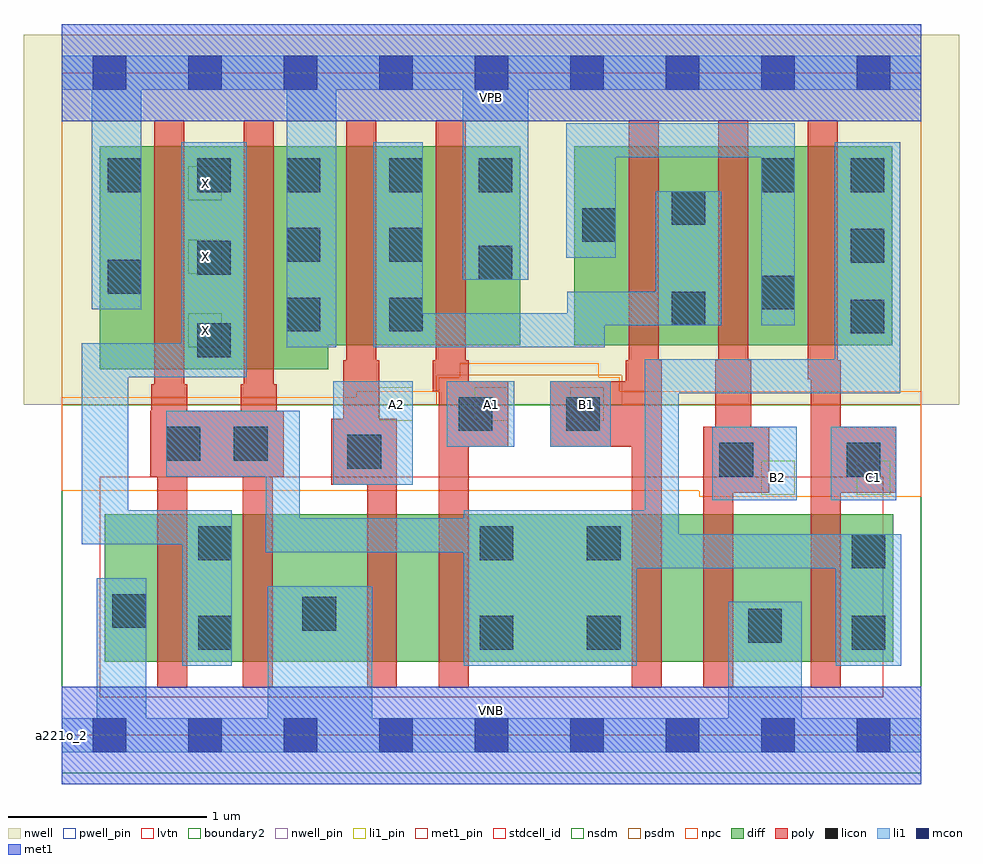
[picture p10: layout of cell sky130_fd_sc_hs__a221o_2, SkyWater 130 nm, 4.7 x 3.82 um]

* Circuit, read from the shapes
.subckt sky130_fd_sc_hs__a221o_2 A1 A2 B1 B2 C1 VGND VNB VPB VPWR X
XM1 X n1 VGND VNB sky130_fd_pr__nfet_01v8_lvt w=0.74 l=0.15 m=2
XM2 n2 A2 VGND VNB sky130_fd_pr__nfet_01v8_lvt w=0.74 l=0.15
XM3 n1 A1 n2 VNB sky130_fd_pr__nfet_01v8_lvt w=0.74 l=0.15
XM4 n3 B1 n1 VNB sky130_fd_pr__nfet_01v8_lvt w=0.74 l=0.15
XM5 VGND B2 n3 VNB sky130_fd_pr__nfet_01v8_lvt w=0.74 l=0.15
XM6 n1 C1 VGND VNB sky130_fd_pr__nfet_01v8_lvt w=0.74 l=0.15
XM7 X n1 VPWR VPB sky130_fd_pr__pfet_01v8 w=1.12 l=0.15 m=2
XM8 n4 A2 VPWR VPB sky130_fd_pr__pfet_01v8 w=1 l=0.15
XM9 VPWR A1 n4 VPB sky130_fd_pr__pfet_01v8 w=1 l=0.15
XM10 n4 B1 n5 VPB sky130_fd_pr__pfet_01v8 w=1 l=0.15
XM11 n5 B2 n4 VPB sky130_fd_pr__pfet_01v8 w=1 l=0.15
XM12 n1 C1 n5 VPB sky130_fd_pr__pfet_01v8 w=1 l=0.15
.ends

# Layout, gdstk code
import gdstk
lib = gdstk.Library(unit=1e-6, precision=1e-09)
def R(c, l, rs):  # rectangles x0, y0, x1, y1
    for r in rs: c.add(gdstk.rectangle(r[:2], r[2:], *l))
def A(c, l, x, y, w, h, nx, ny, dx, dy):  # array of equal rectangles
    R(c, l, [(x+i*dx, y+j*dy, x+i*dx+w, y+j*dy+h) for i in range(nx) for j in range(ny)])
def P(c, l, *ps):  # polygons
    for p in ps: c.add(gdstk.Polygon(p, *l))
nwell_pin = (64, 16)
nwell = (64, 20)
diff = (65, 20)
poly = (66, 20)
licon = (66, 44)
li1_pin = (67, 16)
li1 = (67, 20)
mcon = (67, 44)
met1_pin = (68, 16)
met1 = (68, 20)
stdcell_id = (81, 4)
nsdm = (93, 44)
psdm = (94, 20)
npc = (95, 20)
pwell_pin = (122, 16)
lvtn = (125, 44)
boundary2 = (236, 0)

sky130_fd_sc_hs__a221o_2 = lib.new_cell('sky130_fd_sc_hs__a221o_2')
R(sky130_fd_sc_hs__a221o_2, nwell_pin, [(0,3.085,4.32,3.33)])
R(sky130_fd_sc_hs__a221o_2, nwell, [(-0.19,1.66,4.51,3.52)])
R(sky130_fd_sc_hs__a221o_2, diff, [(0.215,0.37,4.18,1.11), (2.575,1.96,4.175,2.96)])
P(sky130_fd_sc_hs__a221o_2, diff, [(2.305,2.96),(0.19,2.96),(0.19,1.84),(1.34,1.84),(1.34,1.96),(2.305,1.96)])
P(sky130_fd_sc_hs__a221o_2, poly, [(4.195,1.55),(3.915,1.55),(3.915,1.885),(3.9,1.885),(3.9,3.09),(3.75,3.09),(3.75,1.79),(3.765,1.79),(3.765,0.24),(3.915,0.24),(3.915,1.22),(4.195,1.22)],
  [(3.555,1.55),(3.465,1.55),(3.465,1.885),(3.45,1.885),(3.45,3.09),(3.3,3.09),(3.3,1.885),(3.285,1.885),(3.285,1.55),(3.225,1.55),(3.225,0.24),(3.375,0.24),(3.375,1.22),(3.555,1.22)],
  [(3.015,1.885),(3,1.885),(3,3.09),(2.85,3.09),(2.85,1.885),(2.835,1.885),(2.835,1.78),(2.455,1.78),(2.455,1.45),(2.865,1.45),(2.865,0.24),(3.015,0.24)],
  [(2.245,1.78),(2.045,1.78),(2.045,1.885),(2.03,1.885),(2.03,3.09),(1.88,3.09),(1.88,1.885),(1.865,1.885),(1.865,1.73),(1.895,1.73),(1.895,0.24),(2.045,0.24),(2.045,1.45),(2.245,1.45)],
  [(1.685,1.59),(1.595,1.59),(1.595,1.885),(1.58,1.885),(1.58,3.09),(1.43,3.09),(1.43,1.885),(1.415,1.885),(1.415,1.59),(1.355,1.59),(1.355,1.26),(1.535,1.26),(1.535,0.24),(1.685,0.24)],
  [(1.115,1.63),(1.08,1.63),(1.08,1.765),(1.065,1.765),(1.065,3.09),(0.915,3.09),(0.915,1.765),(0.9,1.765),(0.9,1.63),(0.63,1.63),(0.63,1.765),(0.615,1.765),(0.615,3.09),(0.465,3.09),(0.465,1.765),(0.45,1.765),(0.45,1.63),(0.445,1.63),(0.445,1.3),(0.48,1.3),(0.48,0.24),(0.63,0.24),(0.63,1.3),(0.91,1.3),(0.91,0.24),(1.06,0.24),(1.06,1.3),(1.115,1.3)])
A(sky130_fd_sc_hs__a221o_2, licon, 3.965, 2.02, 0.17, 0.17, 1, 3, 0, 0.355)
A(sky130_fd_sc_hs__a221o_2, licon, 1.645, 2.03, 0.17, 0.17, 1, 3, 0, 0.35)
A(sky130_fd_sc_hs__a221o_2, licon, 0.23, 2.73, 0.17, 0.17, 3, 1, 0.45, 0)
R(sky130_fd_sc_hs__a221o_2, licon, [(0.685,0.43,0.855,0.6), (2.1,0.43,2.27,0.6), (2.64,0.43,2.81,0.6), (3.97,0.43,4.14,0.6), (3.45,0.465,3.62,0.635), (1.21,0.525,1.38,0.695), (0.255,0.54,0.425,0.71), (3.97,0.84,4.14,1.01), (0.685,0.88,0.855,1.05), (2.1,0.88,2.27,1.05), (2.64,0.88,2.81,1.05), (3.305,1.3,3.475,1.47), (3.945,1.3,4.115,1.47), (1.435,1.34,1.605,1.51), (0.525,1.38,0.695,1.55), (0.865,1.38,1.035,1.55), (1.995,1.53,2.165,1.7), (2.535,1.53,2.705,1.7), (0.68,1.9,0.85,2.07), (1.13,2.03,1.3,2.2), (3.065,2.06,3.235,2.23), (3.515,2.14,3.685,2.31), (0.23,2.22,0.4,2.39), (2.095,2.29,2.265,2.46), (0.68,2.315,0.85,2.485), (1.13,2.38,1.3,2.55), (2.615,2.48,2.785,2.65), (3.065,2.565,3.235,2.735), (2.095,2.73,2.265,2.9), (3.515,2.73,3.685,2.9)])
A(sky130_fd_sc_hs__a221o_2, li1_pin, 1.595, 1.58, 0.17, 0.17, 3, 1, 0.48, 0)
A(sky130_fd_sc_hs__a221o_2, li1_pin, 0.635, 1.95, 0.17, 0.17, 1, 3, 0, 0.37)
R(sky130_fd_sc_hs__a221o_2, li1_pin, [(3.515,1.21,3.685,1.38), (3.995,1.21,4.165,1.38)])
R(sky130_fd_sc_hs__a221o_2, li1, [(3.27,1.18,3.695,1.55), (3.865,1.18,4.195,1.55), (1.365,1.26,1.765,1.78), (1.935,1.45,2.275,1.78), (2.455,1.45,2.76,1.78)])
P(sky130_fd_sc_hs__a221o_2, li1, [(2.015,2.29),(2.015,3.245),(1.38,3.245),(1.38,1.95),(1.13,1.95),(1.13,3.245),(0.4,3.245),(0.4,2.14),(0.15,2.14),(0.15,3.245),(0,3.245),(0,3.415),(4.32,3.415),(4.32,3.245),(2.345,3.245),(2.345,2.29)],
  [(3.35,0.085),(3.35,0.67),(3.72,0.67),(3.72,0.085),(4.32,0.085),(4.32,-0.085),(0,-0.085),(0,0.085),(0.175,0.085),(0.175,0.79),(0.425,0.79),(0.425,0.085),(1.035,0.085),(1.035,0.75),(1.56,0.75),(1.56,0.085)],
  [(2.93,1.89),(3.885,1.89),(3.885,2.98),(4.215,2.98),(4.215,1.72),(3.1,1.72),(3.1,1.01),(4.22,1.01),(4.22,0.35),(3.89,0.35),(3.89,0.84),(2.89,0.84),(2.89,0.35),(2.02,0.35),(2.02,0.92),(1.025,0.92),(1.025,1.3),(0.525,1.3),(0.525,1.63),(1.195,1.63),(1.195,1.09),(2.02,1.09),(2.02,1.13),(2.93,1.13)],
  [(0.1,1.97),(0.6,1.97),(0.6,2.98),(0.93,2.98),(0.93,1.8),(0.335,1.8),(0.335,1.13),(0.855,1.13),(0.855,0.35),(0.605,0.35),(0.605,0.96),(0.1,0.96)],
  [(3.515,2.06),(3.515,2.905),(2.785,2.905),(2.785,2.4),(2.535,2.4),(2.535,3.075),(3.685,3.075),(3.685,2.06)],
  [(3.315,2.735),(2.985,2.735),(2.985,2.23),(2.54,2.23),(2.54,2.12),(1.815,2.12),(1.815,2.98),(1.565,2.98),(1.565,1.95),(2.73,1.95),(2.73,2.06),(3.315,2.06)])
A(sky130_fd_sc_hs__a221o_2, mcon, 0.155, -0.085, 0.17, 0.17, 9, 2, 0.48, 3.33)
R(sky130_fd_sc_hs__a221o_2, met1_pin, [(0,0,4.32,0.245), (0,3.085,4.32,3.33)])
R(sky130_fd_sc_hs__a221o_2, met1, [(0,-0.245,4.32,0.245), (0,3.085,4.32,3.575)])
R(sky130_fd_sc_hs__a221o_2, stdcell_id, [(0,0,4.32,3.33)])
R(sky130_fd_sc_hs__a221o_2, nsdm, [(0,-0.19,4.32,1.66)])
P(sky130_fd_sc_hs__a221o_2, psdm, [(4.32,3.52),(0,3.52),(0,1.66),(1.885,1.66),(1.885,1.81),(2.815,1.81),(2.815,1.66),(4.32,1.66)])
P(sky130_fd_sc_hs__a221o_2, npc, [(4.32,1.73),(2.805,1.73),(2.805,1.8),(2.7,1.8),(2.7,1.87),(2,1.87),(2,1.8),(1.895,1.8),(1.895,1.73),(1.48,1.73),(1.48,1.7),(0,1.7),(0,1.23),(3.205,1.23),(3.205,1.2),(4.32,1.2)])
R(sky130_fd_sc_hs__a221o_2, pwell_pin, [(0,0,4.32,0.245)])
R(sky130_fd_sc_hs__a221o_2, lvtn, [(0.19,0.19,4.13,1.3)])
R(sky130_fd_sc_hs__a221o_2, boundary2, [(0,0,4.32,3.33)])
sky130_fd_sc_hs__a221o_2.add(gdstk.Label('a221o_2', (0,0), layer=83, texttype=44))
sky130_fd_sc_hs__a221o_2.add(gdstk.Label('VNB', (2.16,0.123), layer=64, texttype=59))
sky130_fd_sc_hs__a221o_2.add(gdstk.Label('VPB', (2.16,3.208), layer=64, texttype=5))
sky130_fd_sc_hs__a221o_2.add(gdstk.Label('VPWR', (2.16,3.208), layer=68, texttype=5))
sky130_fd_sc_hs__a221o_2.add(gdstk.Label('VGND', (2.16,0.123), layer=68, texttype=5))
sky130_fd_sc_hs__a221o_2.add(gdstk.Label('C1', (4.08,1.295), layer=67, texttype=5))
sky130_fd_sc_hs__a221o_2.add(gdstk.Label('B2', (3.6,1.295), layer=67, texttype=5))
sky130_fd_sc_hs__a221o_2.add(gdstk.Label('B1', (2.64,1.665), layer=67, texttype=5))
sky130_fd_sc_hs__a221o_2.add(gdstk.Label('A2', (1.68,1.665), layer=67, texttype=5))
sky130_fd_sc_hs__a221o_2.add(gdstk.Label('A1', (2.16,1.665), layer=67, texttype=5))
sky130_fd_sc_hs__a221o_2.add(gdstk.Label('X', (0.72,2.035), layer=67, texttype=5))
sky130_fd_sc_hs__a221o_2.add(gdstk.Label('X', (0.72,2.405), layer=67, texttype=5))
sky130_fd_sc_hs__a221o_2.add(gdstk.Label('X', (0.72,2.775), layer=67, texttype=5))

lib.write_gds('sky130_fd_sc_hs__a221o_2.gds')
